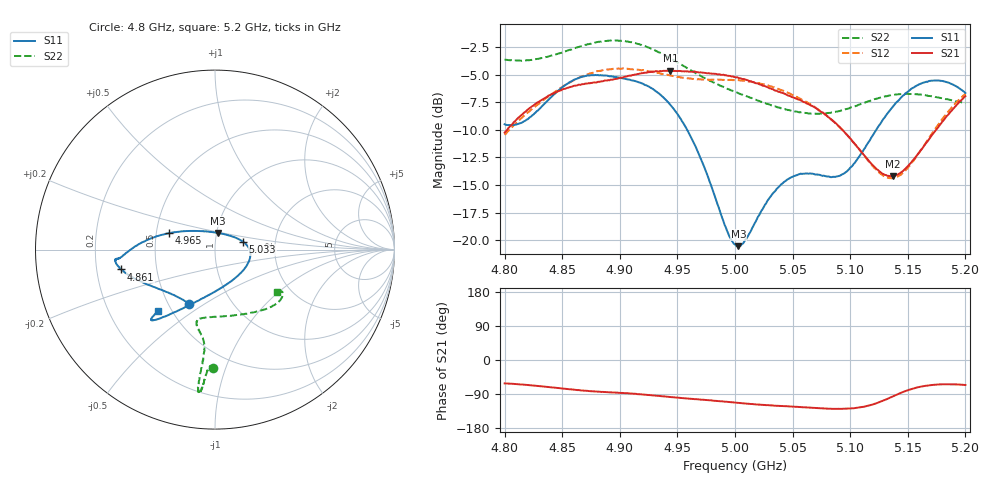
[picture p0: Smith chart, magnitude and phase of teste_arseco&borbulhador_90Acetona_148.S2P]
! Network Analyzer HP8722D
! Hewlett-Packard
! Data name: Linha & Wilkinson
! Saver's name: Rodrigo Anjos
! Comments: Teste da utilização de aquisição
! continua pelo VNA HP8722D
! Time and date: 17/4/2025 12:17
!  Frequency  S11  S21  S12  S22
# HZ  S  MA R 50
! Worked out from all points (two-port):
!   401 points, 4.8 GHz to 5.2 GHz, reference 50 ohm
!   highest |S21| = -4.64 dB at 4.944 GHz (marker M1); lowest = -14.2 dB at 5.137 GHz (marker M2)
!   |S21| within 3 dB of the highest: 4.827 GHz to 5.063 GHz (235.8 MHz wide, 4.77 % of centre); 5.193416 GHz to end of sweep
!   lowest |S11| = -20.5 dB at 5.003 GHz (marker M3), VSWR 1.21, Z = 50.9 + j9.48 ohm
!   |S11| at or under -10 dB: 4.958 GHz to 5.123 GHz (164.2 MHz wide, 3.26 % of centre)
!   |S22| runs from -8.6 to -1.9 dB; largest |S21 - S12| = 0.88
!   S11 on the Smith chart (normalised r, x): 4.8 GHz: 0.63, -0.43; 4.861 GHz: 0.31, -0.10; 4.965 GHz: 0.59, +0.12; 5.033 GHz: 1.37, +0.12; 5.2 GHz: 0.43, -0.37
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4.8e9  0.3349 -116.0  0.3067 -61.8  0.3001 -176.2  0.6573 -90.8
4.819e9  0.3512 -136.1  0.3857 -65.7  0.3747 -175.3  0.6529 -92.3
4.861e9  0.5343 -168.0  0.5008 -78.7  0.5324 -178.5  0.7404 -94.8
4.867e9  0.5488 -170.4  0.5081 -80.5  0.5497 -179.7  0.7563 -95.1
4.9e9  0.5444 -174.7  0.5424 -86.6  0.5972 174.2  0.8001 -96.5
4.934e9  0.4617 179.2  0.5812 -94.9  0.5728 170.7  0.7083 -96.9
4.944e9  0.4097 174.5  0.5862 -97.7  0.5562 170.8  0.6665 -96.6
4.965e9  0.2709 160.2  0.5814 -103.3  0.5364 172.6  0.5739 -96.1
4.993e9  0.1105 114.1  0.5561 -110.4  0.5315 174.8  0.4851 -98.7
5e9  0.09576 90.4  0.5477 -112.5  0.5308 174.9  0.4691 -100.1
5.003e9  0.09395 79.2  0.5429 -113.4  0.5305 174.8  0.4626 -100.9
5.009e9  0.1005 59.1  0.5337 -114.7  0.5275 174.6  0.4507 -102.1
5.033e9  0.1632 15.5  0.4824 -119.9  0.4926 173.5  0.4069 -103.9
5.049e9  0.1927 -0.3  0.4455 -122.7  0.4569 172.8  0.3856 -99.6
5.067e9  0.2001 -19.3  0.4055 -126.1  0.4084 172.6  0.3742 -89.8
5.096e9  0.203 -70.2  0.3045 -128.6  0.3046 174.4  0.3916 -67.1
5.121e9  0.3063 -109.6  0.2146 -116.0  0.2124 -170.9  0.4348 -49.9
5.134e9  0.3845 -119.9  0.1951 -100.2  0.191 -153.1  0.452 -43.3
5.137e9  0.4019 -121.6  0.1946 -96.3  0.1914 -148.4  0.4547 -42.1
5.15e9  0.4705 -127.3  0.2161 -79.9  0.2123 -129.5  0.46 -37.3
5.17e9  0.527 -131.6  0.2938 -66.3  0.2986 -112.5  0.4491 -32.9
5.2e9  0.464 -132.8  0.4489 -66.0  0.4607 -108.1  0.4174 -34.5
